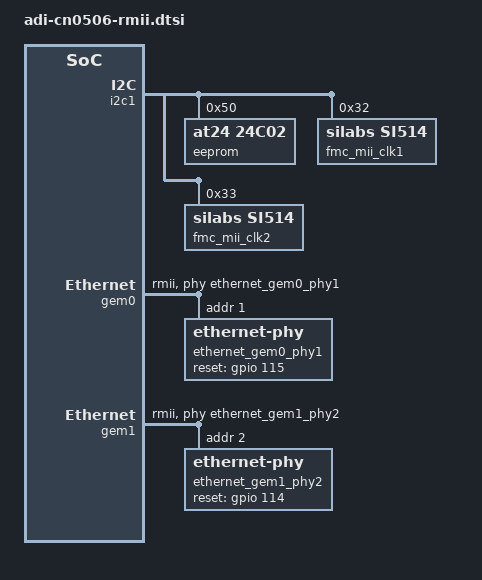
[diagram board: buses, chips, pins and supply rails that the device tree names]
&i2c1 {
	i2c-mux@75 {
		i2c@1 { /* HPC1 */
			#address-cells = <1>;
			#size-cells = <0>;
			reg = <1>;

			/* the EEPROM for the Vadj FRU data */
			eeprom@50 {
				compatible = "at24,24c02";
				reg = <0x50>;
			};

			fmc_mii_clk1: clock-generator@32 {
				#clock-cells = <0>;
				compatible = "silabs,si514";
				reg = <0x32>;
				clock-output-names = "si514_fmc_mii_clk1";
				assigned-clocks = <&fmc_mii_clk1>;
				assigned-clock-rates = <50000000>;
			};

			fmc_mii_clk2: clock-generator@33 {
				#clock-cells = <0>;
				compatible = "silabs,si514";
				reg = <0x33>;
				clock-output-names = "si514_fmc_mii_clk2";
				assigned-clocks = <&fmc_mii_clk2>;
				assigned-clock-rates = <50000000>;
			};
		};
	};
};

&gem0 {
	status = "okay";
	phy-mode = "rmii";
	phy-handle = <&ethernet_gem0_phy1>;

	/* need to override the clocks to squeeze our external ref fmc_mii_clk1 here */
	clocks = <&zynqmp_clk LPD_LSBUS>, <&fmc_mii_clk1>, <&zynqmp_clk GEM0_TX>,
		 <&zynqmp_clk GEM0_RX>, <&zynqmp_clk GEM_TSU>;
	clock-names = "pclk", "hclk", "tx_clk", "rx_clk", "tsu_clk";

	ethernet_gem0_phy1: ethernet-phy@1 {
		reg = <1>;
		reset-gpios = <&gpio 115 GPIO_ACTIVE_HIGH>;
		reset-assert-us = <20>; /* 10 us minimum */
		reset-deassert-us = <10000>; /* 5 ms minimum */
	};
};

&gem1 {
	status = "okay";
	phy-mode = "rmii";
	phy-handle = <&ethernet_gem1_phy2>;

	/* need to override the clocks to squeeze our external ref fmc_mii_clk2 here */
	clocks = <&zynqmp_clk LPD_LSBUS>, <&fmc_mii_clk2>, <&zynqmp_clk GEM1_TX>,
		 <&zynqmp_clk GEM1_RX>, <&zynqmp_clk GEM_TSU>;
	clock-names = "pclk", "hclk", "tx_clk", "rx_clk", "tsu_clk";

	ethernet_gem1_phy2: ethernet-phy@2 {
		reg = <2>;
		reset-gpios = <&gpio 114 GPIO_ACTIVE_HIGH>;
		reset-assert-us = <20>; /* 10 us minimum */
		reset-deassert-us = <10000>; /* 5 ms minimum */
	};
};
